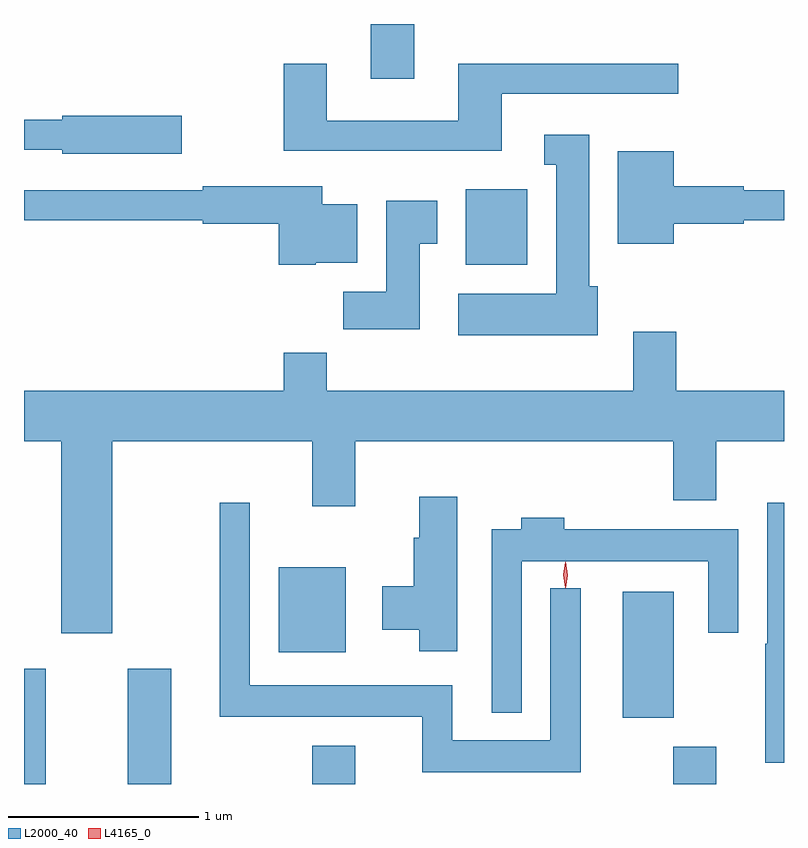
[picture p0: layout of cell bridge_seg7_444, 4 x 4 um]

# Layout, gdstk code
import gdstk
lib = gdstk.Library(unit=1e-6, precision=1e-09)
def R(c, l, rs):  # rectangles x0, y0, x1, y1
    for r in rs: c.add(gdstk.rectangle(r[:2], r[2:], *l))
def P(c, l, *ps):  # polygons
    for p in ps: c.add(gdstk.Polygon(p, *l))
L2000_40 = (2000, 40)
L4165_0 = (4165, 0)

bridge_seg7_444 = lib.new_cell('bridge_seg7_444')
R(bridge_seg7_444, L2000_40, [(1154.865,1719.173,1154.979,1719.779), (1155.411,1719.173,1155.639,1719.779), (1156.381,1719.173,1156.609,1719.374), (1158.281,1719.173,1158.509,1719.369), (1158.016,1719.521,1158.284,1720.184), (1156.206,1719.866,1156.559,1720.314), (1157.191,1721.906,1157.514,1722.304), (1156.691,1722.886,1156.919,1723.173)])
P(bridge_seg7_444, L2000_40, [(1157.379,1722.806),(1158.308,1722.806),(1158.308,1722.964),(1157.151,1722.964),(1157.151,1722.664),(1156.459,1722.664),(1156.459,1722.964),(1156.231,1722.964),(1156.231,1722.506),(1157.379,1722.506)],
  [(1155.694,1722.689),(1155.066,1722.689),(1155.066,1722.669),(1154.865,1722.669),(1154.865,1722.511),(1155.066,1722.511),(1155.066,1722.491),(1155.694,1722.491)],
  [(1157.884,1721.794),(1157.839,1721.794),(1157.839,1722.589),(1157.603,1722.589),(1157.603,1722.431),(1157.666,1722.431),(1157.666,1721.754),(1157.151,1721.754),(1157.151,1721.536),(1157.884,1721.536)],
  [(1158.284,1722.121),(1158.654,1722.121),(1158.654,1722.141),(1158.865,1722.141),(1158.865,1722.299),(1158.654,1722.299),(1158.654,1722.319),(1158.284,1722.319),(1158.284,1722.504),(1157.991,1722.504),(1157.991,1722.016),(1158.284,1722.016)],
  [(1156.4,1721.916),(1156.619,1721.916),(1156.619,1722.224),(1156.434,1722.224),(1156.434,1722.319),(1155.806,1722.319),(1155.806,1722.299),(1154.865,1722.299),(1154.865,1722.141),(1155.806,1722.141),(1155.806,1722.121),(1156.206,1722.121),(1156.206,1721.906),(1156.4,1721.906)],
  [(1156.949,1722.016),(1157.039,1722.016),(1157.039,1722.244),(1156.771,1722.244),(1156.771,1721.764),(1156.546,1721.764),(1156.546,1721.566),(1156.949,1721.566)],
  [(1155.329,1720.976),(1156.381,1720.976),(1156.381,1720.636),(1156.609,1720.636),(1156.609,1720.976),(1158.281,1720.976),(1158.281,1720.666),(1158.509,1720.666),(1158.509,1720.976),(1158.865,1720.976),(1158.865,1721.244),(1158.299,1721.244),(1158.299,1721.554),(1158.071,1721.554),(1158.071,1721.244),(1156.459,1721.244),(1156.459,1721.444),(1156.231,1721.444),(1156.231,1721.244),(1154.865,1721.244),(1154.865,1720.976),(1155.061,1720.976),(1155.061,1719.966),(1155.329,1719.966)],
  [(1157.144,1720.684),(1156.946,1720.684),(1156.946,1720.469),(1156.916,1720.469),(1156.916,1720.214),(1156.751,1720.214),(1156.751,1719.986),(1156.946,1719.986),(1156.946,1719.871),(1157.144,1719.871)],
  [(1158.865,1720.653),(1158.776,1720.653),(1158.776,1719.91),(1158.766,1719.91),(1158.766,1719.286),(1158.865,1719.286)],
  [(1157.794,1720.203),(1157.636,1720.203),(1157.636,1719.404),(1157.119,1719.404),(1157.119,1719.694),(1156.054,1719.694),(1156.054,1720.653),(1155.896,1720.653),(1155.896,1719.526),(1156.961,1719.526),(1156.961,1719.236),(1157.794,1719.236)],
  [(1157.484,1720.346),(1158.466,1720.346),(1158.466,1719.968),(1158.624,1719.968),(1158.624,1720.514),(1157.709,1720.514),(1157.709,1720.574),(1157.481,1720.574),(1157.481,1720.514),(1157.326,1720.514),(1157.326,1719.548),(1157.484,1719.548)])
P(bridge_seg7_444, L4165_0, [(1157.714,1720.207),(1157.714,1720.207),(1157.704,1720.274),(1157.714,1720.34),(1157.714,1720.341),(1157.715,1720.34),(1157.724,1720.274),(1157.715,1720.207)],
  [(1157.716,1720.204),(1157.716,1720.204),(1157.706,1720.273),(1157.716,1720.342),(1157.716,1720.343),(1157.717,1720.342),(1157.726,1720.273),(1157.717,1720.204)])

lib.write_gds('bridge_seg7_444.gds')
